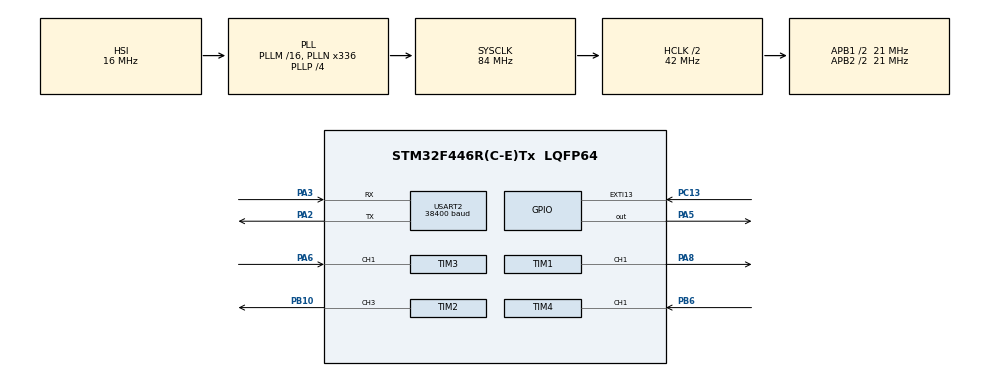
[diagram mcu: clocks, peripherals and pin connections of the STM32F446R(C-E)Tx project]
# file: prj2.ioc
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Dma.Request0=TIM1_CH1
Dma.Request1=TIM2_UP/CH3
Dma.TIM1_CH1.0.Direction=DMA_MEMORY_TO_PERIPH
Dma.TIM1_CH1.0.FIFOMode=DMA_FIFOMODE_DISABLE
Dma.TIM1_CH1.0.Instance=DMA2_Stream1
Dma.TIM1_CH1.0.MemDataAlignment=DMA_MDATAALIGN_WORD
Dma.TIM1_CH1.0.MemInc=DMA_MINC_DISABLE
Dma.TIM1_CH1.0.Mode=DMA_CIRCULAR
Dma.TIM1_CH1.0.PeriphDataAlignment=DMA_PDATAALIGN_WORD
Dma.TIM1_CH1.0.PeriphInc=DMA_PINC_DISABLE
Dma.TIM1_CH1.0.Priority=DMA_PRIORITY_HIGH
Dma.TIM2_UP/CH3.1.Direction=DMA_MEMORY_TO_PERIPH
Dma.TIM2_UP/CH3.1.FIFOMode=DMA_FIFOMODE_DISABLE
Dma.TIM2_UP/CH3.1.Instance=DMA1_Stream1
Dma.TIM2_UP/CH3.1.MemDataAlignment=DMA_MDATAALIGN_WORD
Dma.TIM2_UP/CH3.1.MemInc=DMA_MINC_DISABLE
Dma.TIM2_UP/CH3.1.Mode=DMA_CIRCULAR
Dma.TIM2_UP/CH3.1.PeriphDataAlignment=DMA_PDATAALIGN_WORD
Dma.TIM2_UP/CH3.1.PeriphInc=DMA_PINC_DISABLE
Dma.TIM2_UP/CH3.1.Priority=DMA_PRIORITY_HIGH
Mcu.Family=STM32F4
Mcu.Name=STM32F446R(C-E)Tx
Mcu.Package=LQFP64
NVIC.DMA1_Stream1_IRQn=true\:0\:0\:false\:false\:true\:false
NVIC.DMA2_Stream1_IRQn=true\:0\:0\:false\:false\:true\:false
NVIC.PriorityGroup=NVIC_PRIORITYGROUP_0
NVIC.TIM3_IRQn=true\:0\:1\:false\:false\:true\:true
NVIC.TIM4_IRQn=true\:0\:1\:true\:false\:true\:true
NVIC.USART2_IRQn=true\:0\:2\:true\:false\:true\:true
PA13.Signal=SYS_JTMS-SWDIO
PA14.Signal=SYS_JTCK-SWCLK
PA2.GPIO_Mode=GPIO_MODE_AF_PP
PA2.GPIO_PuPd=GPIO_PULLUP
PA2.GPIO_Speed=GPIO_SPEED_FREQ_VERY_HIGH
PA2.Mode=Asynchronous
PA2.Signal=USART2_TX
PA3.GPIO_Mode=GPIO_MODE_AF_PP
PA3.GPIO_PuPd=GPIO_PULLUP
PA3.GPIO_Speed=GPIO_SPEED_FREQ_VERY_HIGH
PA3.Mode=Asynchronous
PA3.Signal=USART2_RX
PA5.GPIO_ModeDefaultOutputPP=GPIO_MODE_OUTPUT_PP
PA5.GPIO_PuPd=GPIO_NOPULL
PA5.GPIO_Speed=GPIO_SPEED_FREQ_LOW
PA5.PinState=GPIO_PIN_RESET
PA5.Signal=GPIO_Output
PA6.Signal=S_TIM3_CH1
PA8.Signal=S_TIM1_CH1
PB10.Signal=S_TIM2_CH3
PB3.Signal=SYS_JTDO-SWO
PB6.Signal=S_TIM4_CH1
PC13.GPIO_ModeDefaultEXTI=GPIO_MODE_IT_RISING
PC13.GPIO_PuPd=GPIO_NOPULL
PC13.Signal=GPXTI13
PC14-OSC32_IN.Signal=RCC_OSC32_IN
PC15-OSC32_OUT.Signal=RCC_OSC32_OUT
PH0-OSC_IN.Signal=RCC_OSC_IN
PH1-OSC_OUT.Signal=RCC_OSC_OUT
ProjectManager.HeapSize=0x200
ProjectManager.StackSize=0x400
ProjectManager.TargetToolchain=SW4STM32
RCC.AHBCLKDivider=RCC_SYSCLK_DIV2
RCC.AHBFreq_Value=42000000
RCC.APB1CLKDivider=RCC_HCLK_DIV2
RCC.APB1Freq_Value=21000000
RCC.APB1TimFreq_Value=42000000
RCC.APB2CLKDivider=RCC_HCLK_DIV2
RCC.APB2Freq_Value=21000000
RCC.APB2TimFreq_Value=42000000
RCC.CortexFreq_Value=42000000
RCC.FLatency-AdvancedSettings=FLASH_LATENCY_1
RCC.HCLKFreq_Value=42000000
RCC.HSE_VALUE=8000000
RCC.HSI_VALUE=16000000
RCC.LSE_VALUE=32768
RCC.PLLN=336
RCC.PLLP=RCC_PLLP_DIV4
RCC.SYSCLKFreq_VALUE=84000000
RCC.SYSCLKSource=RCC_SYSCLKSOURCE_PLLCLK
RCC.USBFreq_Value=168000000
RCC.VCOOutputFreq_Value=336000000
SH.S_TIM1_CH1.0=TIM1_CH1,PWM Generation1 CH1
SH.S_TIM2_CH3.0=TIM2_CH3,PWM Generation3 CH3
SH.S_TIM3_CH1.0=TIM3_CH1,PWM_Input_1
SH.S_TIM4_CH1.0=TIM4_CH1,PWM_Input_1
TIM1.Channel-PWM\ Generation1\ CH1=TIM_CHANNEL_1
TIM1.Period=100-1
TIM1.Prescaler=42000-1
TIM2.Channel-PWM\ Generation3\ CH3=TIM_CHANNEL_3
TIM2.Period=100-1
TIM2.Prescaler=42000-1
TIM3.Channel-Output\ Compare3\ No\ Output=TIM_CHANNEL_3
TIM3.Period=2000-1
TIM3.Prescaler=42000-1
TIM4.Channel-Output\ Compare3\ No\ Output=TIM_CHANNEL_3
TIM4.Period=2000-1
TIM4.Prescaler=42000-1
USART2.BaudRate=38400
USART2.VirtualMode=VM_ASYNC
VP_TIM1_VS_ClockSourceINT.Mode=Internal
VP_TIM2_VS_ClockSourceINT.Mode=Internal
VP_TIM3_VS_ClockSourceINT.Mode=Internal
VP_TIM3_VS_no_output3.Mode=Output Compare3 No Output
VP_TIM4_VS_ClockSourceINT.Mode=Internal
VP_TIM4_VS_no_output3.Mode=Output Compare3 No Output
board=NUCLEO-F446RE

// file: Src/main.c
/**
  ******************************************************************************
  * File Name          : main.c
  * Description        : Main program body
  ******************************************************************************
  ** This notice applies to any and all portions of this file
  * that are not between comment pairs USER CODE BEGIN and
  * USER CODE END. Other portions of this file, whether
  * inserted by the user or by software development tools
  * are owned by their respective copyright owners.
  *
  * COPYRIGHT(c) 2017 STMicroelectronics
  *
  * Redistribution and use in source and binary forms, with or without modification,
  * are permitted provided that the following conditions are met:
  *   1. Redistributions of source code must retain the above copyright notice,
  *      this list of conditions and the following disclaimer.
  *   2. Redistributions in binary form must reproduce the above copyright notice,
  *      this list of conditions and the following disclaimer in the documentation
  *      and/or other materials provided with the distribution.
  *   3. Neither the name of STMicroelectronics nor the names of its contributors
  *      may be used to endorse or promote products derived from this software
  *      without specific prior written permission.
  *
  * THIS SOFTWARE IS PROVIDED BY THE COPYRIGHT HOLDERS AND CONTRIBUTORS "AS IS"
  * AND ANY EXPRESS OR IMPLIED WARRANTIES, INCLUDING, BUT NOT LIMITED TO, THE
  * IMPLIED WARRANTIES OF MERCHANTABILITY AND FITNESS FOR A PARTICULAR PURPOSE ARE
  * DISCLAIMED. IN NO EVENT SHALL THE COPYRIGHT HOLDER OR CONTRIBUTORS BE LIABLE
  * FOR ANY DIRECT, INDIRECT, INCIDENTAL, SPECIAL, EXEMPLARY, OR CONSEQUENTIAL
  * DAMAGES (INCLUDING, BUT NOT LIMITED TO, PROCUREMENT OF SUBSTITUTE GOODS OR
  * SERVICES; LOSS OF USE, DATA, OR PROFITS; OR BUSINESS INTERRUPTION) HOWEVER
  * CAUSED AND ON ANY THEORY OF LIABILITY, WHETHER IN CONTRACT, STRICT LIABILITY,
  * OR TORT (INCLUDING NEGLIGENCE OR OTHERWISE) ARISING IN ANY WAY OUT OF THE USE
  * OF THIS SOFTWARE, EVEN IF ADVISED OF THE POSSIBILITY OF SUCH DAMAGE.
  *
  ******************************************************************************
  */

#include "main.h"
#include "stm32f4xx_hal.h"

/* USER CODE BEGIN Includes */
/*! \brief Wymagane do konwersji int na ASCII (itoa()) */
#include <stdlib.h>
/*! \brief Biblioteka potrzebna do operacji tekstowych */
#include <string.h>
/* USER CODE END Includes */

TIM_HandleTypeDef htim1;
TIM_HandleTypeDef htim2;
TIM_HandleTypeDef htim3;
TIM_HandleTypeDef htim4;
DMA_HandleTypeDef hdma_tim1_ch1;
DMA_HandleTypeDef hdma_tim2_up_ch3;

UART_HandleTypeDef huart2;

/* USER CODE BEGIN PV */
/* Private variables ---------------------------------------------------------*/

/*! \brief Liczba znakow w buforze odbiorczym uwzględniająca znak końca tekstu '\0' */
#define BUFFER_SIZE (9u)

/*! \brief Typ wyliczeniowy opisujący stan odebranej komendy przez UART */
typedef enum
{
   eNotReady, /*!< Odebrana komenda nie jest gotowa do odczytu */
   eReady /*!< Odebrana komenda jest gotowa do odczytu */
}ReceivedCmdState_t;

typedef enum
{
   PwmChannel_eInvalid,
   PwmChannel_eCh1,
   PwmChannel_eCh2,
}PwmChannel_t;

typedef enum
{
   eDutyCycleValid,
   eDutyCycleInvalid_0,
   eDutyCycleInvalid_100
}DutyCycleState_t;

/* Struktura zawierajaca otrzymana komende i stan tej komendy */
struct
{
   uint8_t u8Buf[BUFFER_SIZE]; /*!< Bufor przechowujący odebrane i przetworzone znaki */
   uint8_t u8Idx; /*!< Indeks kolejnego elementu w buforze */
   ReceivedCmdState_t ReceivedCmdState; /*!< Stan odebranego polecenia */
}sRxCmd; /*!< Stworzenie struktury o nazwie sRxCmd */

/* Bufor przechowujący odebrane i przetworzone znaki */
uint8_t u8RxChar;

/* Duty cycle state */
volatile DutyCycleState_t DutyCycleStatePwmIn1;
DutyCycleState_t DutyCycleStatePwmIn2;

/* TIM1 (PWM1) duty cycle */
uint32_t u32Tim1DutyCycle = 0u;
/* TIM1 (PWM2) duty cycle */
uint32_t u32Tim2DutyCycle = 0u;

/* USER CODE END PV */

void SystemClock_Config(void);
static void MX_GPIO_Init(void);
static void MX_DMA_Init(void);
static void MX_USART2_UART_Init(void);
static void MX_TIM1_Init(void);
static void MX_TIM3_Init(void);
static void MX_TIM4_Init(void);
static void MX_TIM2_Init(void);
void HAL_TIM_MspPostInit(TIM_HandleTypeDef *htim);

/* USER CODE BEGIN PFP */
/* Private function prototypes -----------------------------------------------*/
static uint8_t GetDutyCycle(void);
/* Reads duty cycle from input UART buffer and returns decimal value */
static PwmChannel_t GetPwmChannel(void);
/* Przesyla przez uart parametry wejsciowych PWM */
static void PrintInputPwmParameters(void);
/* Przesyla przez uart parametry wejsciowych PWM */
static void PrintOutputPwmParameters(void);
/* Wysyla Period i duty cycle przez uart */
static void SendPerdiodAndDutyCycle(uint16_t u16Period, uint8_t u8DutyCycle);
/* Function updates duty cycle */
static void UpdateDutyCycle(void);
/* USER CODE END PFP */

int main(void)
{

  /* USER CODE BEGIN 1 */
   u32Tim1DutyCycle = 0u;  //u32 wymagane przez funkcje DMA
   u32Tim2DutyCycle = 0u;  //u32 wymagane przez funkcje DMA

   DutyCycleStatePwmIn1 = eDutyCycleValid;
   DutyCycleStatePwmIn2 = eDutyCycleValid;

   //Inicjalizacja zmiennych od odbieranych komend
   sRxCmd.u8Idx = 0u;
   sRxCmd.ReceivedCmdState = eNotReady;
  /* USER CODE END 1 */

  /* MCU Configuration----------------------------------------------------------*/

  /* Reset of all peripherals, Initializes the Flash interface and the Systick. */
  HAL_Init();

  /* Configure the system clock */
  SystemClock_Config();

  /* Initialize all configured peripherals */
  MX_GPIO_Init();
  MX_DMA_Init();
  MX_USART2_UART_Init();
  MX_TIM1_Init();
  MX_TIM3_Init();
  MX_TIM4_Init();
  MX_TIM2_Init();

  /* USER CODE BEGIN 2 */
  /* Wlacz przerwanie od odebranego znaku z UART */
  HAL_UART_Receive_IT(&huart2, &u8RxChar, 1);
  /* Wlacz PWM wykorzystujacy DMA */
  HAL_TIM_PWM_Start_DMA(&htim1, TIM_CHANNEL_1, &u32Tim1DutyCycle, 1u);
  HAL_TIM_PWM_Start_DMA(&htim2, TIM_CHANNEL_3, &u32Tim2DutyCycle, 1u);
  /* Wlacz odczyt parametrow PWM */
  HAL_TIM_IC_Start(&htim3, TIM_CHANNEL_1);
  HAL_TIM_IC_Start(&htim3, TIM_CHANNEL_2);
  /* Wlacz odczyt parametrow PWM */
  HAL_TIM_IC_Start(&htim4, TIM_CHANNEL_1);
  HAL_TIM_IC_Start(&htim4, TIM_CHANNEL_2);
  /* Wlacz przerwanie dla TIM3 i TIM4 - potrzebne do duty cycle 0 i 100% (timeout) */
  HAL_TIM_Base_Start_IT(&htim3);
  HAL_TIM_Base_Start_IT(&htim4);

  /* USER CODE END 2 */

  /* Infinite loop */
  /* USER CODE BEGIN WHILE */
  while (1)
  {
     //Jezeli odebrano komende
     if(sRxCmd.ReceivedCmdState == eReady)
     {
        //Sprawdz format koemndy "PWMx_xxx"
        if(strcmp((char *)sRxCmd.u8Buf, "PWM") > 1)
        {
           UpdateDutyCycle();
        }
        else if(strcmp((char*)sRxCmd.u8Buf, "GET") == 0)
        {
           PrintInputPwmParameters();
           PrintOutputPwmParameters();
        }

        sRxCmd.ReceivedCmdState = eNotReady;
        sRxCmd.u8Idx = 0u;
     }
  /* USER CODE END WHILE */

  }

}

/** System Clock Configuration
*/
void SystemClock_Config(void)
{

  RCC_OscInitTypeDef RCC_OscInitStruct;
  RCC_ClkInitTypeDef RCC_ClkInitStruct;

    /**Configure the main internal regulator output voltage
    */
  __HAL_RCC_PWR_CLK_ENABLE();

  __HAL_PWR_VOLTAGESCALING_CONFIG(PWR_REGULATOR_VOLTAGE_SCALE3);

    /**Initializes the CPU, AHB and APB busses clocks
    */
  RCC_OscInitStruct.OscillatorType = RCC_OSCILLATORTYPE_HSI;
  RCC_OscInitStruct.HSIState = RCC_HSI_ON;
  RCC_OscInitStruct.HSICalibrationValue = 16;
  RCC_OscInitStruct.PLL.PLLState = RCC_PLL_ON;
  RCC_OscInitStruct.PLL.PLLSource = RCC_PLLSOURCE_HSI;
  RCC_OscInitStruct.PLL.PLLM = 16;
  RCC_OscInitStruct.PLL.PLLN = 336;
  RCC_OscInitStruct.PLL.PLLP = RCC_PLLP_DIV4;
  RCC_OscInitStruct.PLL.PLLQ = 2;
  RCC_OscInitStruct.PLL.PLLR = 2;
  if (HAL_RCC_OscConfig(&RCC_OscInitStruct) != HAL_OK)
  {
    _Error_Handler(__FILE__, __LINE__);
  }

    /**Initializes the CPU, AHB and APB busses clocks
    */
  RCC_ClkInitStruct.ClockType = RCC_CLOCKTYPE_HCLK|RCC_CLOCKTYPE_SYSCLK
                              |RCC_CLOCKTYPE_PCLK1|RCC_CLOCKTYPE_PCLK2;
  RCC_ClkInitStruct.SYSCLKSource = RCC_SYSCLKSOURCE_PLLCLK;
  RCC_ClkInitStruct.AHBCLKDivider = RCC_SYSCLK_DIV2;
  RCC_ClkInitStruct.APB1CLKDivider = RCC_HCLK_DIV2;
  RCC_ClkInitStruct.APB2CLKDivider = RCC_HCLK_DIV2;

  if (HAL_RCC_ClockConfig(&RCC_ClkInitStruct, FLASH_LATENCY_1) != HAL_OK)
  {
    _Error_Handler(__FILE__, __LINE__);
  }

    /**Configure the Systick interrupt time
    */
  HAL_SYSTICK_Config(HAL_RCC_GetHCLKFreq()/1000);

    /**Configure the Systick
    */
  HAL_SYSTICK_CLKSourceConfig(SYSTICK_CLKSOURCE_HCLK);

  /* SysTick_IRQn interrupt configuration */
  HAL_NVIC_SetPriority(SysTick_IRQn, 0, 0);
}

/* TIM1 init function */
static void MX_TIM1_Init(void)
{

  TIM_ClockConfigTypeDef sClockSourceConfig;
  TIM_MasterConfigTypeDef sMasterConfig;
  TIM_OC_InitTypeDef sConfigOC;
  TIM_BreakDeadTimeConfigTypeDef sBreakDeadTimeConfig;

  htim1.Instance = TIM1;
  htim1.Init.Prescaler = 42000-1;
  htim1.Init.CounterMode = TIM_COUNTERMODE_UP;
  htim1.Init.Period = 100-1;
  htim1.Init.ClockDivision = TIM_CLOCKDIVISION_DIV1;
  htim1.Init.RepetitionCounter = 0;
  if (HAL_TIM_Base_Init(&htim1) != HAL_OK)
  {
    _Error_Handler(__FILE__, __LINE__);
  }

  sClockSourceConfig.ClockSource = TIM_CLOCKSOURCE_INTERNAL;
  if (HAL_TIM_ConfigClockSource(&htim1, &sClockSourceConfig) != HAL_OK)
  {
    _Error_Handler(__FILE__, __LINE__);
  }

  if (HAL_TIM_PWM_Init(&htim1) != HAL_OK)
  {
    _Error_Handler(__FILE__, __LINE__);
  }

  sMasterConfig.MasterOutputTrigger = TIM_TRGO_RESET;
  sMasterConfig.MasterSlaveMode = TIM_MASTERSLAVEMODE_DISABLE;
  if (HAL_TIMEx_MasterConfigSynchronization(&htim1, &sMasterConfig) != HAL_OK)
  {
    _Error_Handler(__FILE__, __LINE__);
  }

  sConfigOC.OCMode = TIM_OCMODE_PWM1;
  sConfigOC.Pulse = 0;
  sConfigOC.OCPolarity = TIM_OCPOLARITY_HIGH;
  sConfigOC.OCNPolarity = TIM_OCNPOLARITY_HIGH;
  sConfigOC.OCFastMode = TIM_OCFAST_DISABLE;
  sConfigOC.OCIdleState = TIM_OCIDLESTATE_RESET;
  sConfigOC.OCNIdleState = TIM_OCNIDLESTATE_RESET;
  if (HAL_TIM_PWM_ConfigChannel(&htim1, &sConfigOC, TIM_CHANNEL_1) != HAL_OK)
  {
    _Error_Handler(__FILE__, __LINE__);
  }

  sBreakDeadTimeConfig.OffStateRunMode = TIM_OSSR_DISABLE;
  sBreakDeadTimeConfig.OffStateIDLEMode = TIM_OSSI_DISABLE;
  sBreakDeadTimeConfig.LockLevel = TIM_LOCKLEVEL_OFF;
  sBreakDeadTimeConfig.DeadTime = 0;
  sBreakDeadTimeConfig.BreakState = TIM_BREAK_DISABLE;
  sBreakDeadTimeConfig.BreakPolarity = TIM_BREAKPOLARITY_HIGH;
  sBreakDeadTimeConfig.AutomaticOutput = TIM_AUTOMATICOUTPUT_DISABLE;
  if (HAL_TIMEx_ConfigBreakDeadTime(&htim1, &sBreakDeadTimeConfig) != HAL_OK)
  {
    _Error_Handler(__FILE__, __LINE__);
  }

  HAL_TIM_MspPostInit(&htim1);

}

/* TIM2 init function */
static void MX_TIM2_Init(void)
{

  TIM_ClockConfigTypeDef sClockSourceConfig;
  TIM_MasterConfigTypeDef sMasterConfig;
  TIM_OC_InitTypeDef sConfigOC;

  htim2.Instance = TIM2;
  htim2.Init.Prescaler = 42000-1;
  htim2.Init.CounterMode = TIM_COUNTERMODE_UP;
  htim2.Init.Period = 100-1;
  htim2.Init.ClockDivision = TIM_CLOCKDIVISION_DIV1;
  if (HAL_TIM_Base_Init(&htim2) != HAL_OK)
  {
    _Error_Handler(__FILE__, __LINE__);
  }

  sClockSourceConfig.ClockSource = TIM_CLOCKSOURCE_INTERNAL;
  if (HAL_TIM_ConfigClockSource(&htim2, &sClockSourceConfig) != HAL_OK)
  {
    _Error_Handler(__FILE__, __LINE__);
  }

  if (HAL_TIM_PWM_Init(&htim2) != HAL_OK)
  {
    _Error_Handler(__FILE__, __LINE__);
  }

  sMasterConfig.MasterOutputTrigger = TIM_TRGO_RESET;
  sMasterConfig.MasterSlaveMode = TIM_MASTERSLAVEMODE_DISABLE;
  if (HAL_TIMEx_MasterConfigSynchronization(&htim2, &sMasterConfig) != HAL_OK)
  {
    _Error_Handler(__FILE__, __LINE__);
  }

  sConfigOC.OCMode = TIM_OCMODE_PWM1;
  sConfigOC.Pulse = 0;
  sConfigOC.OCPolarity = TIM_OCPOLARITY_HIGH;
  sConfigOC.OCFastMode = TIM_OCFAST_DISABLE;
  if (HAL_TIM_PWM_ConfigChannel(&htim2, &sConfigOC, TIM_CHANNEL_3) != HAL_OK)
  {
    _Error_Handler(__FILE__, __LINE__);
  }

  HAL_TIM_MspPostInit(&htim2);

}

/* TIM3 init function */
static void MX_TIM3_Init(void)
{

  TIM_ClockConfigTypeDef sClockSourceConfig;
  TIM_SlaveConfigTypeDef sSlaveConfig;
  TIM_IC_InitTypeDef sConfigIC;
  TIM_MasterConfigTypeDef sMasterConfig;
  TIM_OC_InitTypeDef sConfigOC;

  htim3.Instance = TIM3;
  htim3.Init.Prescaler = 42000-1;
  htim3.Init.CounterMode = TIM_COUNTERMODE_UP;
  htim3.Init.Period = 2000-1;
  htim3.Init.ClockDivision = TIM_CLOCKDIVISION_DIV1;
  if (HAL_TIM_Base_Init(&htim3) != HAL_OK)
  {
    _Error_Handler(__FILE__, __LINE__);
  }

  sClockSourceConfig.ClockSource = TIM_CLOCKSOURCE_INTERNAL;
  if (HAL_TIM_ConfigClockSource(&htim3, &sClockSourceConfig) != HAL_OK)
  {
    _Error_Handler(__FILE__, __LINE__);
  }

  if (HAL_TIM_OC_Init(&htim3) != HAL_OK)
  {
    _Error_Handler(__FILE__, __LINE__);
  }

  if (HAL_TIM_IC_Init(&htim3) != HAL_OK)
  {
    _Error_Handler(__FILE__, __LINE__);
  }

  sSlaveConfig.SlaveMode = TIM_SLAVEMODE_RESET;
  sSlaveConfig.InputTrigger = TIM_TS_TI1FP1;
  sSlaveConfig.TriggerPolarity = TIM_INPUTCHANNELPOLARITY_RISING;
  sSlaveConfig.TriggerPrescaler = TIM_ICPSC_DIV1;
  sSlaveConfig.TriggerFilter = 0;
  if (HAL_TIM_SlaveConfigSynchronization(&htim3, &sSlaveConfig) != HAL_OK)
  {
    _Error_Handler(__FILE__, __LINE__);
  }

  sConfigIC.ICPolarity = TIM_INPUTCHANNELPOLARITY_RISING;
  sConfigIC.ICSelection = TIM_ICSELECTION_DIRECTTI;
  sConfigIC.ICPrescaler = TIM_ICPSC_DIV1;
  sConfigIC.ICFilter = 0;
  if (HAL_TIM_IC_ConfigChannel(&htim3, &sConfigIC, TIM_CHANNEL_1) != HAL_OK)
  {
    _Error_Handler(__FILE__, __LINE__);
  }

  sConfigIC.ICPolarity = TIM_INPUTCHANNELPOLARITY_FALLING;
  sConfigIC.ICSelection = TIM_ICSELECTION_INDIRECTTI;
  if (HAL_TIM_IC_ConfigChannel(&htim3, &sConfigIC, TIM_CHANNEL_2) != HAL_OK)
  {
    _Error_Handler(__FILE__, __LINE__);
  }

  sMasterConfig.MasterOutputTrigger = TIM_TRGO_RESET;
  sMasterConfig.MasterSlaveMode = TIM_MASTERSLAVEMODE_DISABLE;
  if (HAL_TIMEx_MasterConfigSynchronization(&htim3, &sMasterConfig) != HAL_OK)
  {
    _Error_Handler(__FILE__, __LINE__);
  }

  sConfigOC.OCMode = TIM_OCMODE_TIMING;
  sConfigOC.Pulse = 0;
  sConfigOC.OCPolarity = TIM_OCPOLARITY_HIGH;
  sConfigOC.OCFastMode = TIM_OCFAST_DISABLE;
  if (HAL_TIM_OC_ConfigChannel(&htim3, &sConfigOC, TIM_CHANNEL_3) != HAL_OK)
  {
    _Error_Handler(__FILE__, __LINE__);
  }

}

/* TIM4 init function */
static void MX_TIM4_Init(void)
{

  TIM_ClockConfigTypeDef sClockSourceConfig;
  TIM_SlaveConfigTypeDef sSlaveConfig;
  TIM_IC_InitTypeDef sConfigIC;
  TIM_MasterConfigTypeDef sMasterConfig;
  TIM_OC_InitTypeDef sConfigOC;

  htim4.Instance = TIM4;
  htim4.Init.Prescaler = 42000-1;
  htim4.Init.CounterMode = TIM_COUNTERMODE_UP;
  htim4.Init.Period = 2000-1;
  htim4.Init.ClockDivision = TIM_CLOCKDIVISION_DIV1;
  if (HAL_TIM_Base_Init(&htim4) != HAL_OK)
  {
    _Error_Handler(__FILE__, __LINE__);
  }

  sClockSourceConfig.ClockSource = TIM_CLOCKSOURCE_INTERNAL;
  if (HAL_TIM_ConfigClockSource(&htim4, &sClockSourceConfig) != HAL_OK)
  {
    _Error_Handler(__FILE__, __LINE__);
  }

  if (HAL_TIM_OC_Init(&htim4) != HAL_OK)
  {
    _Error_Handler(__FILE__, __LINE__);
  }

  if (HAL_TIM_IC_Init(&htim4) != HAL_OK)
  {
    _Error_Handler(__FILE__, __LINE__);
  }

  sSlaveConfig.SlaveMode = TIM_SLAVEMODE_RESET;
  sSlaveConfig.InputTrigger = TIM_TS_TI1FP1;
  sSlaveConfig.TriggerPolarity = TIM_INPUTCHANNELPOLARITY_RISING;
  sSlaveConfig.TriggerPrescaler = TIM_ICPSC_DIV1;
  sSlaveConfig.TriggerFilter = 0;
  if (HAL_TIM_SlaveConfigSynchronization(&htim4, &sSlaveConfig) != HAL_OK)
  {
    _Error_Handler(__FILE__, __LINE__);
  }

  sConfigIC.ICPolarity = TIM_INPUTCHANNELPOLARITY_RISING;
  sConfigIC.ICSelection = TIM_ICSELECTION_DIRECTTI;
  sConfigIC.ICPrescaler = TIM_ICPSC_DIV1;
  sConfigIC.ICFilter = 0;
  if (HAL_TIM_IC_ConfigChannel(&htim4, &sConfigIC, TIM_CHANNEL_1) != HAL_OK)
  {
    _Error_Handler(__FILE__, __LINE__);
  }

  sConfigIC.ICPolarity = TIM_INPUTCHANNELPOLARITY_FALLING;
  sConfigIC.ICSelection = TIM_ICSELECTION_INDIRECTTI;
  if (HAL_TIM_IC_ConfigChannel(&htim4, &sConfigIC, TIM_CHANNEL_2) != HAL_OK)
  {
    _Error_Handler(__FILE__, __LINE__);
  }

  sMasterConfig.MasterOutputTrigger = TIM_TRGO_RESET;
  sMasterConfig.MasterSlaveMode = TIM_MASTERSLAVEMODE_DISABLE;
  if (HAL_TIMEx_MasterConfigSynchronization(&htim4, &sMasterConfig) != HAL_OK)
  {
    _Error_Handler(__FILE__, __LINE__);
  }

  sConfigOC.OCMode = TIM_OCMODE_TIMING;
  sConfigOC.Pulse = 0;
  sConfigOC.OCPolarity = TIM_OCPOLARITY_HIGH;
  sConfigOC.OCFastMode = TIM_OCFAST_DISABLE;
  if (HAL_TIM_OC_ConfigChannel(&htim4, &sConfigOC, TIM_CHANNEL_3) != HAL_OK)
  {
    _Error_Handler(__FILE__, __LINE__);
  }

}

/* USART2 init function */
static void MX_USART2_UART_Init(void)
{

  huart2.Instance = USART2;
  huart2.Init.BaudRate = 38400;
  huart2.Init.WordLength = UART_WORDLENGTH_8B;
  huart2.Init.StopBits = UART_STOPBITS_1;
  huart2.Init.Parity = UART_PARITY_NONE;
  huart2.Init.Mode = UART_MODE_TX_RX;
  huart2.Init.HwFlowCtl = UART_HWCONTROL_NONE;
  huart2.Init.OverSampling = UART_OVERSAMPLING_16;
  if (HAL_UART_Init(&huart2) != HAL_OK)
  {
    _Error_Handler(__FILE__, __LINE__);
  }

}

static void MX_DMA_Init(void)
{
  /* DMA controller clock enable */
  __HAL_RCC_DMA2_CLK_ENABLE();
  __HAL_RCC_DMA1_CLK_ENABLE();

  /* DMA interrupt init */
  /* DMA1_Stream1_IRQn interrupt configuration */
  HAL_NVIC_SetPriority(DMA1_Stream1_IRQn, 0, 0);
  HAL_NVIC_EnableIRQ(DMA1_Stream1_IRQn);
  /* DMA2_Stream1_IRQn interrupt configuration */
  HAL_NVIC_SetPriority(DMA2_Stream1_IRQn, 0, 0);
  HAL_NVIC_EnableIRQ(DMA2_Stream1_IRQn);

}

/** Configure pins as
        * Analog
        * Input
        * Output
        * EVENT_OUT
        * EXTI
*/
static void MX_GPIO_Init(void)
{

  GPIO_InitTypeDef GPIO_InitStruct;

  /* GPIO Ports Clock Enable */
  __HAL_RCC_GPIOC_CLK_ENABLE();
  __HAL_RCC_GPIOH_CLK_ENABLE();
  __HAL_RCC_GPIOA_CLK_ENABLE();
  __HAL_RCC_GPIOB_CLK_ENABLE();

  /*Configure GPIO pin Output Level */
  HAL_GPIO_WritePin(GPIOA, GPIO_PIN_5, GPIO_PIN_RESET);

  /*Configure GPIO pin : PC13 */
  GPIO_InitStruct.Pin = GPIO_PIN_13;
  GPIO_InitStruct.Mode = GPIO_MODE_IT_RISING;
  GPIO_InitStruct.Pull = GPIO_NOPULL;
  HAL_GPIO_Init(GPIOC, &GPIO_InitStruct);

  /*Configure GPIO pin : PA5 */
  GPIO_InitStruct.Pin = GPIO_PIN_5;
  GPIO_InitStruct.Mode = GPIO_MODE_OUTPUT_PP;
  GPIO_InitStruct.Pull = GPIO_NOPULL;
  GPIO_InitStruct.Speed = GPIO_SPEED_FREQ_LOW;
  HAL_GPIO_Init(GPIOA, &GPIO_InitStruct);

}

/* USER CODE BEGIN 4 */
static uint8_t GetDutyCycle(void)
{
   uint8_t u8DutyCycle = 0u;

   /* PWMX_X */
   if ((sRxCmd.u8Buf[5u] >= '0') && (sRxCmd.u8Buf[5u] <= '9'))
   {
      u8DutyCycle = sRxCmd.u8Buf[5u] - '0';

      /* PWMX_XX */
      if ((sRxCmd.u8Buf[6u] >= '0') && (sRxCmd.u8Buf[6u] <= '9'))
      {
         u8DutyCycle *= 10u;
         u8DutyCycle += sRxCmd.u8Buf[6u] - '0';

         /* PWMX_XXX */
         if ((sRxCmd.u8Buf[7u] >= '0') && (sRxCmd.u8Buf[7u] <= '9'))
         {
            u8DutyCycle *= 10u;
            u8DutyCycle += sRxCmd.u8Buf[7u] - '0';
         }
      }

      /* Ograniczenie maksymalnego duty cycle w przypadku gdy odebrane jest > 100 */
      if (u8DutyCycle > 100u)
      {
         u8DutyCycle = 100u;
      }
   }

   return u8DutyCycle;
}

static PwmChannel_t GetPwmChannel(void)
{
   PwmChannel_t ePwmChannel;

   switch(sRxCmd.u8Buf[3u])
   {
      case '1':
         ePwmChannel = PwmChannel_eCh1;
         break;
      case '2':
         ePwmChannel = PwmChannel_eCh2;
         break;
      default:
         ePwmChannel = PwmChannel_eInvalid;
   }

   return ePwmChannel;
}

void HAL_TIM_PeriodElapsedCallback(TIM_HandleTypeDef *htim)
{
   if((htim->Instance == TIM3) || (htim->Instance == TIM4))
   {
      if((htim->Instance->SR & TIM_SR_CC1IF) || (htim->Instance->SR & TIM_SR_CC2IF))
      {
         htim->Instance->CCR1;
         htim->Instance->CCR2;
      }
      else if(htim->Instance == TIM3)
      {
         //Period
         htim3.Instance->CCER &= ~(TIM_CCER_CC1E);
         htim3.Instance->CCMR1 &= ~(TIM_CCMR1_CC1S_0);
         htim3.Instance->CCR1 = 1999u;
         htim3.Instance->CCMR1 |= (TIM_CCMR1_CC1S_0);
         htim3.Instance->CCER |= (TIM_CCER_CC1E);

         //Duty cycle odczytaj ze stanu
         htim3.Instance->CCER &= ~(TIM_CCER_CC2E);
         htim3.Instance->CCMR1 &= ~(TIM_CCMR1_CC2S_1);
          if(GPIO_PIN_SET == HAL_GPIO_ReadPin(GPIOA, GPIO_PIN_6))
         {
            htim3.Instance->CCR2 = 99;
         }
         else
         {
            htim3.Instance->CCR2 = -1;
         }
         htim3.Instance->CCMR1 |= (TIM_CCMR1_CC2S_1);
         htim3.Instance->CCER |= (TIM_CCER_CC2E);
      }
      else if(htim->Instance == TIM4)
      {
         //Period
         htim4.Instance->CCER &= ~(TIM_CCER_CC1E);
         htim4.Instance->CCMR1 &= ~(TIM_CCMR1_CC1S_0);
         htim4.Instance->CCR1 = 1999u;
         htim4.Instance->CCMR1 |= (TIM_CCMR1_CC1S_0);
         htim4.Instance->CCER |= (TIM_CCER_CC1E);

         //Duty cycle odczytaj ze stanu
         htim4.Instance->CCER &= ~(TIM_CCER_CC2E);
         htim4.Instance->CCMR1 &= ~(TIM_CCMR1_CC2S_1);
         if(GPIO_PIN_SET == HAL_GPIO_ReadPin(GPIOB, GPIO_PIN_6))
         {
            htim4.Instance->CCR2 = 99;
         }
         else
         {
            htim4.Instance->CCR2 = -1;
         }
         htim4.Instance->CCMR1 |= (TIM_CCMR1_CC2S_1);
         htim4.Instance->CCER |= (TIM_CCER_CC2E);
      }
   }
}

/*! \brief Funkcja wywolywana po odebraniu zaku z UART */
void HAL_UART_RxCpltCallback(UART_HandleTypeDef *huart)
{
   //Jezeli odebrany znak to ktorys z konczacych znakow - zakoncz bufor i ustaw flage: "komenda odebrana i do sprawdzenia"
   if((u8RxChar == '\r') || (u8RxChar == '\n') || (u8RxChar == '\0'))
   {
      sRxCmd.u8Buf[sRxCmd.u8Idx] = '\0';   //Zakoncz
      sRxCmd.ReceivedCmdState = eReady; //Zmien stan bufora na: odebrano pelna komende
   }
   //Dodaj znak o bufora, zwieksz indeks bufora
   else
   {
      //Dodaj nowy znak do bufora
      sRxCmd.u8Buf[sRxCmd.u8Idx] = u8RxChar;

      //Jezeli bufor nie jest pelny to inkrementuj indeks
      if(sRxCmd.u8Idx <= (BUFFER_SIZE - 1))
      {
         sRxCmd.u8Idx++;
      }
   }

   //Wlacz przerwanie od nastepnego nadchodzacego znaku
   HAL_UART_Receive_IT(huart, &u8RxChar, 1u);
}

static void PrintInputPwmParameters(void)
{
   uint8_t u8DutyCycle;
   uint16_t u16Period;

   /* PWM input on PA6 */
   u16Period = HAL_TIM_ReadCapturedValue(&htim3, TIM_CHANNEL_1) + 1u;
   u8DutyCycle = HAL_TIM_ReadCapturedValue(&htim3, TIM_CHANNEL_2) + 1u;
   /* Period */
   HAL_UART_Transmit(&huart2, (uint8_t*)"\nPWM IN on PA6: ", 17u, 1000u);
   SendPerdiodAndDutyCycle(u16Period, u8DutyCycle);

   /* PWM input on PB6 */
   u16Period = HAL_TIM_ReadCapturedValue(&htim4, TIM_CHANNEL_1) + 1u;
   u8DutyCycle = HAL_TIM_ReadCapturedValue(&htim4, TIM_CHANNEL_2) + 1u;
   /* Period */
   HAL_UART_Transmit(&huart2, (uint8_t*)"PWM IN on PB6: ", 16u, 1000u);
   SendPerdiodAndDutyCycle(u16Period, u8DutyCycle);
}

static void PrintOutputPwmParameters(void)
{
   uint8_t u8TxtBuffer[7u];

   //PA8 Output PWM1
   HAL_UART_Transmit(&huart2, (uint8_t*)"PWM1 OUT on PA6: ", 17u, 1000u);
   HAL_UART_Transmit(&huart2, (uint8_t*)"Period [ms]: 100 ", 17u, 1000u);
   HAL_UART_Transmit(&huart2, (uint8_t*)"Duty Cycle [ms]: ", 17u, 1000u);
   itoa(u32Tim1DutyCycle, (char *)u8TxtBuffer, 10);
   HAL_UART_Transmit(&huart2, u8TxtBuffer, strlen((const char*)u8TxtBuffer), 1000u);
   HAL_UART_Transmit(&huart2, (uint8_t*)"\n", 1u, 1000u);

   //PB10 Output PWM2
   HAL_UART_Transmit(&huart2, (uint8_t*)"PWM2 OUT on PB10:", 17u, 1000u);
   HAL_UART_Transmit(&huart2, (uint8_t*)"Period [ms]: 100 ", 17u, 1000u);
   HAL_UART_Transmit(&huart2, (uint8_t*)"Duty Cycle [ms]: ", 17u, 1000u);
   itoa(u32Tim2DutyCycle, (char *)u8TxtBuffer, 10);
   HAL_UART_Transmit(&huart2, u8TxtBuffer, strlen((const char*)u8TxtBuffer), 1000u);
   HAL_UART_Transmit(&huart2, (uint8_t*)"\n", 1u, 1000u);
}

static void SendPerdiodAndDutyCycle(uint16_t u16Period, uint8_t u8DutyCycle)
{
   uint8_t u8TxtBuffer[7u];

   HAL_UART_Transmit(&huart2, (uint8_t*)"  Period [ms]: ", 15u, 1000u);
   itoa(u16Period, (char *)u8TxtBuffer, 10);
   HAL_UART_Transmit(&huart2, u8TxtBuffer, strlen((const char*)u8TxtBuffer), 1000u);
   HAL_UART_Transmit(&huart2, (uint8_t*)"\t", 1u, 1000u);

   /* Duty cycle */
   HAL_UART_Transmit(&huart2, (uint8_t*)" Duty Cycle [ms]: ", 18u, 1000u);
   itoa(u8DutyCycle, (char *)u8TxtBuffer, 10);
   HAL_UART_Transmit(&huart2, u8TxtBuffer, strlen((const char*)u8TxtBuffer), 1000u);
   HAL_UART_Transmit(&huart2, (uint8_t*)"\n", 1u, 1000u);
}

static void UpdateDutyCycle(void)
{
   uint8_t u8DutyCycle;

   PwmChannel_t ePwmChannel;

   ePwmChannel = GetPwmChannel();
   u8DutyCycle = GetDutyCycle();

   switch(ePwmChannel)
   {
      case PwmChannel_eCh1:
         u32Tim1DutyCycle = (uint32_t)u8DutyCycle;
         break;
      case PwmChannel_eCh2:
         u32Tim2DutyCycle = (uint32_t)u8DutyCycle;
         break;
      default:
         break;
   }
}

/* USER CODE END 4 */

void _Error_Handler(char * file, int line)
{
  while(1)
  {
  }
}

/************************ (C) COPYRIGHT STMicroelectronics *****END OF FILE****/
